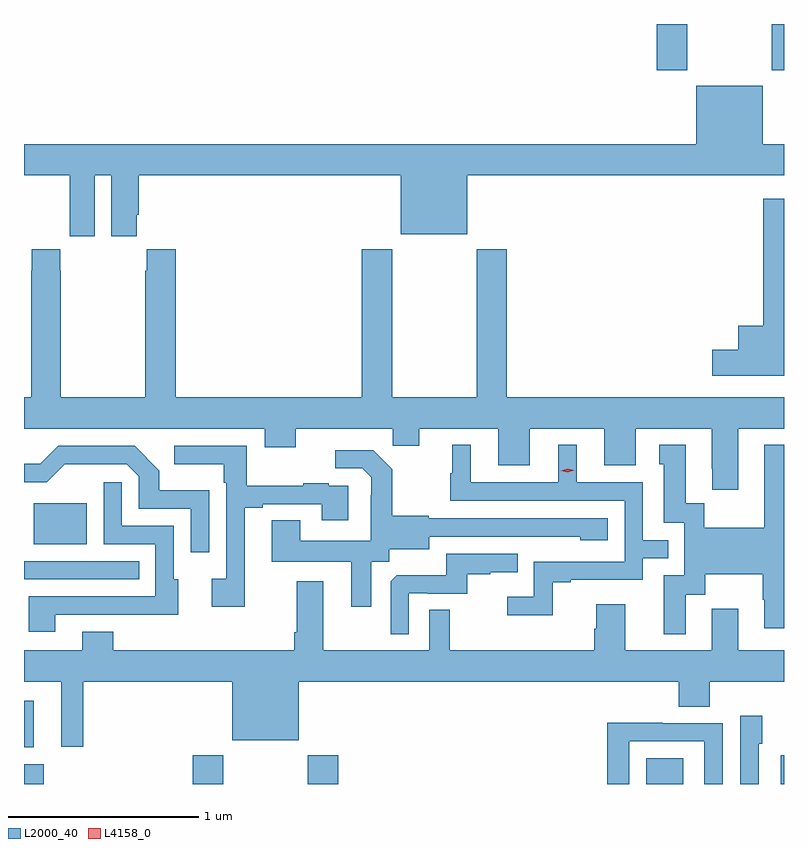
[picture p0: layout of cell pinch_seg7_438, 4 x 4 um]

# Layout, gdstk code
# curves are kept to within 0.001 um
import gdstk
lib = gdstk.Library(unit=1e-6, precision=1e-09)
def R(c, l, rs):  # rectangles x0, y0, x1, y1
    for r in rs: c.add(gdstk.rectangle(r[:2], r[2:], *l))
def P(c, l, *ps):  # polygons
    for p in ps: c.add(gdstk.Polygon(p, *l))
L2000_40 = (2000, 40)
L4158_0 = (4158, 0)

pinch_seg7_438 = lib.new_cell('pinch_seg7_438')
R(pinch_seg7_438, L2000_40, [(267.052,1042.701,267.157,1042.804), (267.941,1042.701,268.101,1042.852), (268.546,1042.701,268.706,1042.852), (270.326,1042.701,270.523,1042.837), (271.034,1042.701,271.052,1042.853), (267.052,1042.895,267.103,1043.14), (267.052,1043.778,267.659,1043.874), (267.104,1043.963,267.382,1044.178), (270.383,1046.457,270.543,1046.701), (270.988,1046.457,271.052,1046.701)])
P(pinch_seg7_438, L2000_40, [(267.052,1045.904),(267.293,1045.904),(267.293,1045.696),(267.294,1045.696),(267.294,1045.584),(267.424,1045.584),(267.424,1045.904),(267.512,1045.904),(267.512,1045.584),(267.646,1045.584),(267.646,1045.696),(267.656,1045.696),(267.656,1045.904),(269.036,1045.904),(269.036,1045.595),(269.386,1045.595),(269.386,1045.904),(271.052,1045.904),(271.052,1046.068),(270.94,1046.068),(270.94,1046.377),(270.59,1046.377),(270.59,1046.068),(267.052,1046.068)],
  [(271.052,1045.78),(270.942,1045.78),(270.942,1045.114),(270.812,1045.114),(270.812,1044.986),(270.675,1044.986),(270.675,1044.851),(271.052,1044.851)],
  [(270.811,1044.572),(271.052,1044.572),(271.052,1044.736),(269.594,1044.736),(269.594,1045.516),(269.434,1045.516),(269.434,1044.736),(268.989,1044.736),(268.989,1045.516),(268.829,1045.516),(268.829,1044.736),(267.851,1044.736),(267.851,1045.516),(267.697,1045.516),(267.697,1045.403),(267.691,1045.403),(267.691,1044.736),(267.246,1044.736),(267.246,1045.403),(267.243,1045.403),(267.243,1045.516),(267.093,1045.516),(267.093,1045.403),(267.091,1045.403),(267.091,1044.736),(267.052,1044.736),(267.052,1044.572),(268.319,1044.572),(268.319,1044.473),(268.483,1044.473),(268.483,1044.572),(268.993,1044.572),(268.993,1044.482),(269.131,1044.482),(269.131,1044.572),(269.549,1044.572),(269.549,1044.378),(269.713,1044.378),(269.713,1044.572),(270.107,1044.572),(270.107,1044.378),(270.271,1044.378),(270.271,1044.572),(270.671,1044.572),(270.671,1044.361),(270.674,1044.361),(270.674,1044.249),(270.811,1044.249)],
  [(270.535,1043.698),(270.637,1043.698),(270.637,1043.804),(270.94,1043.804),(270.94,1043.67),(270.947,1043.67),(270.947,1043.52),(271.052,1043.52),(271.052,1044.487),(270.947,1044.487),(270.947,1044.049),(270.633,1044.049),(270.633,1044.179),(270.535,1044.179),(270.535,1044.487),(270.395,1044.487),(270.395,1044.384),(270.419,1044.384),(270.419,1044.075),(270.528,1044.075),(270.528,1043.799),(270.419,1043.799),(270.419,1043.49),(270.535,1043.49)],
  [(269.835,1043.763),(269.929,1043.763),(269.929,1043.775),(270.309,1043.775),(270.309,1043.889),(270.443,1043.889),(270.443,1043.985),(270.309,1043.985),(270.309,1044.288),(269.962,1044.288),(269.962,1044.487),(269.864,1044.487),(269.864,1044.288),(269.404,1044.288),(269.404,1044.487),(269.306,1044.487),(269.306,1044.336),(269.295,1044.336),(269.295,1044.192),(270.213,1044.192),(270.213,1043.871),(269.736,1043.871),(269.736,1043.686),(269.595,1043.686),(269.595,1043.588),(269.835,1043.588)],
  [(268.026,1044.247),(267.765,1044.247),(267.765,1044.35),(267.634,1044.48),(267.231,1044.48),(267.137,1044.386),(267.052,1044.386),(267.052,1044.288),(267.171,1044.288),(267.266,1044.383),(267.594,1044.384),(267.657,1044.321),(267.657,1044.15),(267.93,1044.15),(267.93,1043.922),(268.026,1043.922)],
  [(268.213,1044.156),(268.309,1044.156),(268.309,1044.174),(268.619,1044.174),(268.619,1044.09),(268.759,1044.09),(268.759,1044.27),(268.655,1044.27),(268.655,1044.283),(268.523,1044.283),(268.523,1044.272),(268.225,1044.272),(268.225,1044.48),(267.843,1044.48),(267.843,1044.383),(268.104,1044.383),(268.104,1044.287),(268.116,1044.287),(268.116,1043.782),(268.041,1043.782),(268.041,1043.634),(268.213,1043.634)],
  [(268.879,1043.872),(268.974,1043.872),(268.974,1043.936),(269.185,1043.936),(269.185,1044.003),(269.979,1044.002),(269.979,1043.984),(270.124,1043.984),(270.124,1044.099),(269.181,1044.099),(269.181,1044.112),(268.989,1044.112),(268.989,1044.357),(268.889,1044.457),(268.689,1044.457),(268.689,1044.363),(268.833,1044.363),(268.88,1044.316),(268.88,1044.221),(268.878,1044.221),(268.878,1043.98),(268.507,1043.98),(268.507,1044.089),(268.355,1044.089),(268.355,1043.87),(268.775,1043.87),(268.775,1043.634),(268.879,1043.634)],
  [(267.217,1043.592),(267.647,1043.592),(267.647,1043.591),(267.865,1043.591),(267.865,1043.778),(267.84,1043.778),(267.84,1044.06),(267.567,1044.06),(267.567,1044.289),(267.471,1044.289),(267.471,1043.964),(267.744,1043.964),(267.744,1043.688),(267.077,1043.688),(267.077,1043.502),(267.217,1043.502)],
  [(269.076,1043.706),(269.176,1043.706),(269.176,1043.703),(269.384,1043.703),(269.384,1043.805),(269.507,1043.805),(269.507,1043.816),(269.651,1043.816),(269.651,1043.913),(269.274,1043.913),(269.274,1043.801),(269.015,1043.801),(268.983,1043.769),(268.983,1043.489),(269.076,1043.489)],
  [(267.365,1043.24),(268.148,1043.24),(268.148,1042.931),(268.498,1042.931),(268.498,1043.24),(270.497,1043.24),(270.497,1043.107),(270.662,1043.107),(270.662,1043.24),(271.052,1043.24),(271.052,1043.404),(270.811,1043.404),(270.811,1043.623),(270.671,1043.623),(270.671,1043.404),(270.217,1043.404),(270.217,1043.647),(270.065,1043.647),(270.065,1043.517),(270.053,1043.517),(270.053,1043.404),(269.293,1043.404),(269.293,1043.618),(269.184,1043.618),(269.184,1043.404),(268.627,1043.404),(268.627,1043.767),(268.487,1043.767),(268.487,1043.5),(268.475,1043.5),(268.475,1043.404),(267.523,1043.404),(267.523,1043.503),(267.359,1043.503),(267.359,1043.404),(267.052,1043.404),(267.052,1043.24),(267.248,1043.24),(267.248,1042.896),(267.365,1042.896)],
  [(270.918,1042.914),(270.937,1042.914),(270.937,1043.059),(270.822,1043.059),(270.822,1042.701),(270.918,1042.701)],
  [(270.237,1042.926),(270.633,1042.926),(270.633,1042.701),(270.729,1042.701),(270.729,1043.022),(270.413,1043.022),(270.413,1043.024),(270.121,1043.024),(270.121,1042.701),(270.237,1042.701)])
P(pinch_seg7_438, L4158_0, [(269.913,1044.341),(269.877,1044.35),(269.877,1044.35),(269.877,1044.35),(269.913,1044.361),(269.949,1044.352),(269.949,1044.352),(269.949,1044.352)])

lib.write_gds('pinch_seg7_438.gds')
